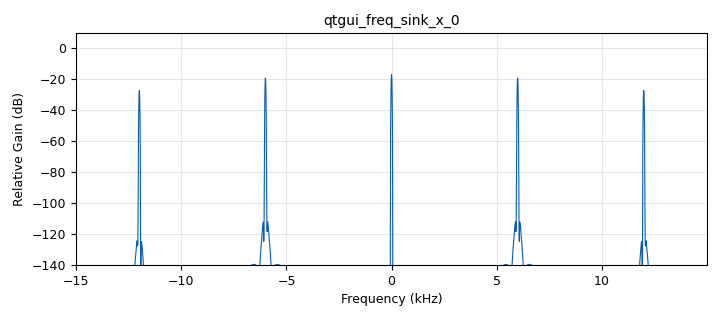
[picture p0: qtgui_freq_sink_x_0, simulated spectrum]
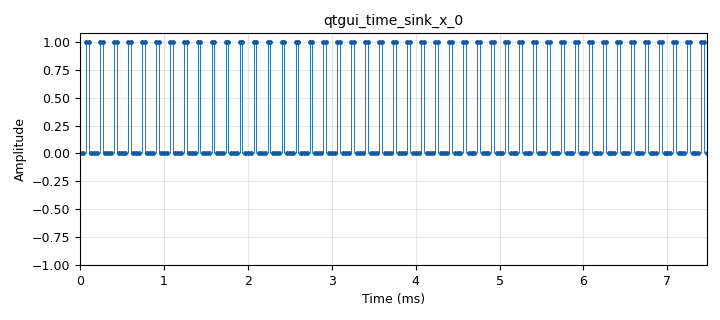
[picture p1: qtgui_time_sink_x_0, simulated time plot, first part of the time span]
options:
  parameters:
    author: Juan_Peña_Javier_Ballesteros_L1B_G4
    generate_options: qt_gui
    id: untitled
    output_language: python
    title: lab1_b
  states: {}

blocks:
- name: freq
  id: variable_qtgui_range
  parameters:
    label: Frecuency
    start: '1000'
    step: '1000'
    stop: '40000'
    value: '6000'
  states: {}
- name: samp_rate
  id: variable
  parameters:
    value: '30000'
  states: {}
- name: analog_sig_source_x_0
  id: analog_sig_source_x
  parameters:
    amp: '1'
    freq: freq
    offset: '0'
    phase: '0'
    samp_rate: samp_rate
    type: float
    waveform: analog.GR_SQR_WAVE
  states: {}
- name: blocks_throttle_0
  id: blocks_throttle
  parameters:
    samples_per_second: samp_rate
    type: float
  states: {}
- name: qtgui_freq_sink_x_0
  id: qtgui_freq_sink_x
  parameters:
    bw: samp_rate
    fc: '0'
    fftsize: '2048'
    type: float
  states: {}
- name: qtgui_time_sink_x_0
  id: qtgui_time_sink_x
  parameters:
    size: '1024'
    srate: samp_rate
    stemplot: 'True'
    type: float
  states: {}

connections:
- [analog_sig_source_x_0, '0', blocks_throttle_0, '0']
- [blocks_throttle_0, '0', qtgui_freq_sink_x_0, '0']
- [blocks_throttle_0, '0', qtgui_time_sink_x_0, '0']

metadata:
  file_format: 1
  grc_version: 3.10.5.1
